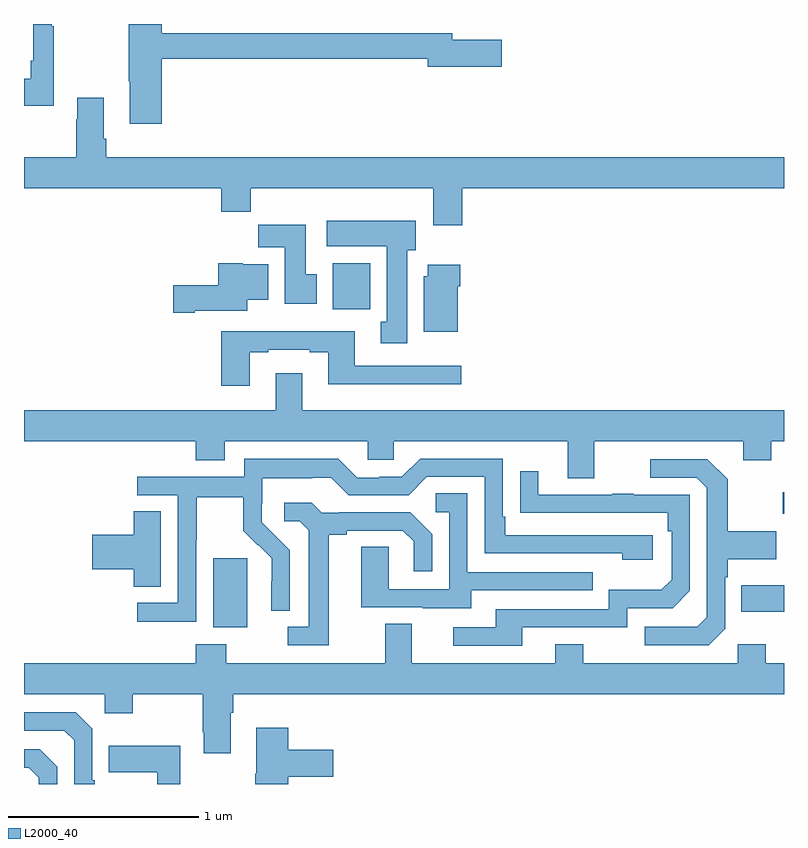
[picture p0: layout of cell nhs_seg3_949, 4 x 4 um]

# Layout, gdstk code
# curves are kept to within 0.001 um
import gdstk
lib = gdstk.Library(unit=1e-6, precision=1e-09)
def R(c, l, rs):  # rectangles x0, y0, x1, y1
    for r in rs: c.add(gdstk.rectangle(r[:2], r[2:], *l))
def P(c, l, *ps):  # polygons
    for p in ps: c.add(gdstk.Polygon(p, *l))
L2000_40 = (2000, 40)

nhs_seg3_949 = lib.new_cell('nhs_seg3_949')
R(nhs_seg3_949, L2000_40, [(159.995,745.226,160.174,745.587), (162.775,745.307,163,745.447), (162.993,745.823,163,745.936), (160.625,746.9,160.822,747.142)])
P(nhs_seg3_949, L2000_40, [(159.157,748.387),(159.145,748.387),(159.145,748.4),(159.048,748.4),(159.048,748.207),(159.036,748.207),(159.036,748.111),(159,748.111),(159,747.971),(159.157,747.971)],
  [(159.725,748.216),(161.126,748.216),(161.126,748.174),(161.515,748.174),(161.515,748.316),(161.254,748.316),(161.254,748.352),(159.725,748.352),(159.725,748.4),(159.55,748.4),(159.55,748.099),(159.557,748.099),(159.557,747.876),(159.725,747.876)],
  [(161.306,747.536),(163,747.536),(163,747.7),(159.434,747.7),(159.434,747.796),(159.421,747.796),(159.421,748.012),(159.281,748.012),(159.281,747.899),(159.274,747.899),(159.274,747.7),(159,747.7),(159,747.536),(160.037,747.536),(160.037,747.412),(160.193,747.412),(160.193,747.536),(161.153,747.536),(161.153,747.342),(161.306,747.342)],
  [(161.017,747.21),(161.062,747.21),(161.062,747.364),(160.593,747.364),(160.593,747.23),(160.91,747.23),(160.91,746.834),(160.877,746.834),(160.877,746.721),(161.017,746.721)],
  [(160.54,747.084),(160.483,747.084),(160.483,747.343),(160.234,747.343),(160.234,747.224),(160.373,747.224),(160.373,746.928),(160.54,746.928)],
  [(159.898,746.891),(160.174,746.891),(160.174,746.948),(160.285,746.948),(160.285,747.136),(160.152,747.136),(160.152,747.142),(160.022,747.142),(160.022,747.026),(159.786,747.026),(159.786,746.879),(159.898,746.879)],
  [(161.284,747.02),(161.297,747.02),(161.297,747.133),(161.126,747.133),(161.126,747.072),(161.105,747.072),(161.105,746.78),(161.284,746.78)],
  [(160.189,746.673),(160.285,746.673),(160.285,746.685),(160.505,746.685),(160.505,746.673),(160.601,746.673),(160.601,746.504),(161.302,746.504),(161.302,746.601),(160.741,746.601),(160.741,746.782),(160.037,746.782),(160.037,746.496),(160.189,746.496)],
  [(162.001,746.204),(162.785,746.204),(162.785,746.105),(162.933,746.105),(162.933,746.204),(163,746.204),(163,746.368),(160.465,746.368),(160.465,746.563),(160.325,746.563),(160.325,746.368),(159,746.368),(159,746.204),(159.905,746.204),(159.905,746.105),(160.057,746.105),(160.057,746.204),(160.809,746.204),(160.809,746.106),(160.947,746.106),(160.947,746.204),(161.861,746.204),(161.861,746.01),(162.001,746.01)],
  [(159.906,745.684),(159.909,745.684),(159.909,745.908),(160.153,745.908),(160.153,745.733),(160.23,745.656),(160.233,745.659),(160.304,745.589),(160.304,745.466),(160.302,745.466),(160.302,745.312),(160.398,745.312),(160.398,745.63),(160.252,745.778),(160.252,745.875),(160.254,745.875),(160.254,746.009),(160.517,746.009),(160.517,746.013),(160.617,746.013),(160.71,745.92),(161.025,745.92),(161.121,746.016),(161.424,746.016),(161.424,745.614),(162.149,745.614),(162.149,745.58),(162.31,745.58),(162.31,745.71),(161.533,745.71),(161.533,745.807),(161.52,745.807),(161.52,746.112),(161.085,746.112),(160.989,746.016),(160.871,746.016),(160.871,746.013),(160.755,746.013),(160.655,746.113),(160.158,746.113),(160.158,746.016),(159.597,746.016),(159.597,745.92),(159.81,745.92),(159.81,745.353),(159.597,745.353),(159.597,745.255),(159.906,745.255)],
  [(162.69,745.218),(162.69,745.487),(162.703,745.487),(162.703,745.583),(162.959,745.583),(162.959,745.731),(162.703,745.731),(162.703,746.003),(162.597,746.109),(162.297,746.109),(162.297,746.013),(162.54,746.013),(162.594,745.959),(162.594,745.278),(162.543,745.227),(162.267,745.227),(162.267,745.131),(162.603,745.131)],
  [(161.623,745.224),(162.174,745.224),(162.174,745.326),(162.414,745.326),(162.504,745.416),(162.504,745.923),(162.209,745.923),(162.209,745.928),(162.097,745.928),(162.097,745.923),(161.707,745.923),(161.707,746.047),(161.611,746.047),(161.611,745.828),(162.388,745.827),(162.388,745.73),(162.408,745.73),(162.408,745.476),(162.355,745.423),(162.078,745.423),(162.078,745.32),(161.483,745.32),(161.483,745.224),(161.259,745.224),(161.259,745.128),(161.623,745.128)],
  [(161.353,745.419),(161.993,745.419),(161.993,745.515),(161.334,745.515),(161.334,745.931),(161.166,745.931),(161.166,745.83),(161.238,745.83),(161.238,745.425),(160.92,745.425),(160.92,745.649),(160.775,745.649),(160.775,745.329),(161.099,745.329),(161.099,745.325),(161.353,745.325)],
  [(160.603,745.712),(160.699,745.712),(160.699,745.734),(160.994,745.734),(161.051,745.677),(161.051,745.521),(161.148,745.521),(161.148,745.714),(161.032,745.83),(160.66,745.83),(160.66,745.827),(160.566,745.827),(160.514,745.879),(160.371,745.879),(160.371,745.782),(160.452,745.782),(160.499,745.735),(160.499,745.227),(160.389,745.227),(160.389,745.131),(160.603,745.131)],
  [(159.721,745.835),(159.578,745.835),(159.578,745.712),(159.36,745.712),(159.36,745.529),(159.578,745.529),(159.578,745.438),(159.721,745.438)],
  [(160.087,744.776),(160.1,744.776),(160.1,744.872),(163,744.872),(163,745.036),(162.903,745.036),(162.903,745.135),(162.756,745.135),(162.756,745.036),(161.943,745.036),(161.943,745.135),(161.795,745.135),(161.795,745.036),(161.041,745.036),(161.041,745.244),(160.901,745.244),(160.901,745.036),(160.065,745.036),(160.065,745.135),(159.905,745.135),(159.905,745.036),(159,745.036),(159,744.872),(159.426,744.872),(159.426,744.773),(159.573,744.773),(159.573,744.872),(159.94,744.872),(159.94,744.673),(159.947,744.673),(159.947,744.561),(160.087,744.561)],
  [(159.373,744.421),(159.36,744.421),(159.36,744.69),(159.273,744.777),(159,744.777),(159,744.681),(159.213,744.681),(159.264,744.63),(159.264,744.4),(159.373,744.4)],
  [(160.391,744.437),(160.627,744.437),(160.627,744.579),(160.391,744.579),(160.391,744.697),(160.223,744.697),(160.223,744.453),(160.216,744.453),(160.216,744.4),(160.391,744.4)],
  [(159.823,744.601),(159.445,744.601),(159.445,744.461),(159.702,744.461),(159.702,744.4),(159.823,744.4)],
  [(159.174,744.492),(159.084,744.582),(159,744.582),(159,744.485),(159.025,744.485),(159.078,744.432),(159.078,744.4),(159.174,744.4)])

lib.write_gds('nhs_seg3_949.gds')
